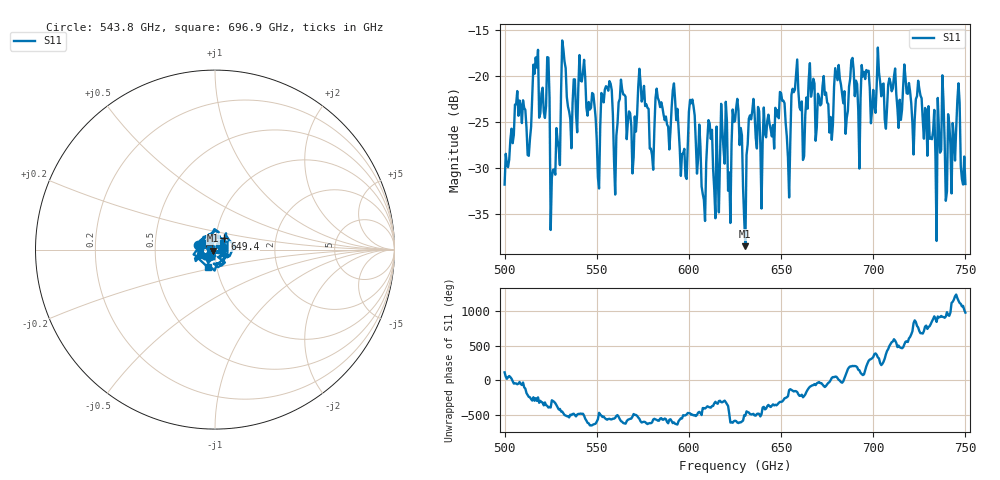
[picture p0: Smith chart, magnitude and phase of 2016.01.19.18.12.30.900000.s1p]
!Created with skrf (http://scikit-rf.org).
# GHz S RI R 50.0
!freq ReS11 ImS11
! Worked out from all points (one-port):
!   401 points, 500 GHz to 750 GHz, reference 50 ohm
!   lowest |S11| = -38.5 dB at 630.6 GHz (marker M1), VSWR 1.02, Z = 49 - j0.597 ohm
!   |S11| at or under -10 dB: start of sweep to end of sweep
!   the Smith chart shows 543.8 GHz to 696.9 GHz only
!   S11 on the Smith chart (normalised r, x): 543.8 GHz: 0.83, +0.04; 649.4 GHz: 1.10, +0.14; 696.9 GHz: 0.90, -0.18
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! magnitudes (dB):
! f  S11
! 500 GHz  -31.8
! 506.9 GHz  -21.7
! 513.1 GHz  -28.7
! 516.9 GHz  -18.0
! 523.1 GHz  -18.0
! 526.2 GHz  -30.2
! 531.2 GHz  -16.2
! 543.8 GHz  -20.3
! 550.6 GHz  -31.1
! 562.5 GHz  -22.5
! 593.8 GHz  -23.6
! 597.5 GHz  -28.0
! 601.9 GHz  -22.6
! 608.1 GHz  -33.5
! 611.2 GHz  -25.2
! 615 GHz  -25.5
! 625 GHz  -24.9
! 630.6 GHz  -38.5
! 633.8 GHz  -24.8
! 649.4 GHz  -21.8
! 653.8 GHz  -29.0
! 656.2 GHz  -21.4
! 687.5 GHz  -20.3
! 696.9 GHz  -19.5
! 718.8 GHz  -22.0
! 733.1 GHz  -23.7
! 746.2 GHz  -20.8
! 750 GHz  -31.8
